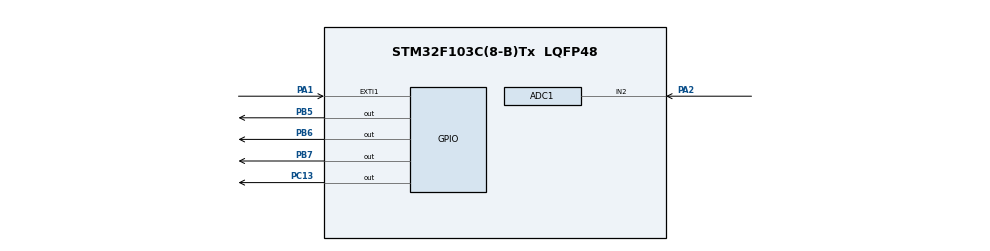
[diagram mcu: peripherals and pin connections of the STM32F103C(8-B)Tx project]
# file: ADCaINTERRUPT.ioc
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ADC1.Channel-1\#ChannelRegularConversion=ADC_CHANNEL_2
ADC1.ContinuousConvMode=ENABLE
ADC1.NbrOfConversionFlag=1
ADC1.Rank-1\#ChannelRegularConversion=1
ADC1.SamplingTime-1\#ChannelRegularConversion=ADC_SAMPLETIME_239CYCLES_5
ADC1.master=1
Mcu.Family=STM32F1
Mcu.Name=STM32F103C(8-B)Tx
Mcu.Package=LQFP48
NVIC.EXTI1_IRQn=true\:1\:0\:true\:false\:true\:true\:true\:true
NVIC.PriorityGroup=NVIC_PRIORITYGROUP_4
PA1.GPIO_ModeDefaultEXTI=GPIO_MODE_IT_FALLING
PA1.GPIO_PuPd=GPIO_PULLUP
PA1.Signal=GPXTI1
PA13.Mode=Serial_Wire
PA13.Signal=SYS_JTMS-SWDIO
PA14.Mode=Serial_Wire
PA14.Signal=SYS_JTCK-SWCLK
PA2.Signal=ADCx_IN2
PB5.PinState=GPIO_PIN_SET
PB5.Signal=GPIO_Output
PB6.PinState=GPIO_PIN_SET
PB6.Signal=GPIO_Output
PB7.PinState=GPIO_PIN_SET
PB7.Signal=GPIO_Output
PC13-TAMPER-RTC.PinState=GPIO_PIN_SET
PC13-TAMPER-RTC.Signal=GPIO_Output
PD0-OSC_IN.Mode=HSE-External-Oscillator
PD0-OSC_IN.Signal=RCC_OSC_IN
PD1-OSC_OUT.Mode=HSE-External-Oscillator
PD1-OSC_OUT.Signal=RCC_OSC_OUT
ProjectManager.HeapSize=0x200
ProjectManager.StackSize=0x400
ProjectManager.TargetToolchain=Makefile
RCC.APB1Freq_Value=8000000
RCC.APB2Freq_Value=8000000
SH.ADCx_IN2.0=ADC1_IN2,IN2
board=custom

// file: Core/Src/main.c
/* USER CODE BEGIN Header */
/**
  ******************************************************************************
  * @file           : main.c
  * @brief          : Main program body
  ******************************************************************************
  * @attention
  *
  * Copyright (c) 2022 STMicroelectronics.
  * All rights reserved.
  *
  * This software is licensed under terms that can be found in the LICENSE file
  * in the root directory of this software component.
  * If no LICENSE file comes with this software, it is provided AS-IS.
  *
  ******************************************************************************
  */
/* USER CODE END Header */
#include "main.h"
#include "adc.h"
#include "gpio.h"

/* USER CODE BEGIN PV */
uint32_t ADC_value;
/* USER CODE END PV */

void SystemClock_Config(void);

int main(void)
{

  /* MCU Configuration--------------------------------------------------------*/

  /* Reset of all peripherals, Initializes the Flash interface and the Systick. */
  HAL_Init();

  /* Configure the system clock */
  SystemClock_Config();

  /* Initialize all configured peripherals */
  MX_GPIO_Init();
  MX_ADC1_Init();
  /* USER CODE BEGIN 2 */
  HAL_ADC_Start(&hadc1);
  /* USER CODE END 2 */

  /* Infinite loop */
  while (1)
  {

    /* USER CODE BEGIN 3 */
    HAL_GPIO_TogglePin(GPIOC,GPIO_PIN_13);

  }
  /* USER CODE END 3 */
}

void SystemClock_Config(void)
{
  RCC_OscInitTypeDef RCC_OscInitStruct = {0};
  RCC_ClkInitTypeDef RCC_ClkInitStruct = {0};
  RCC_PeriphCLKInitTypeDef PeriphClkInit = {0};

  /** Initializes the RCC Oscillators according to the specified parameters
  * in the RCC_OscInitTypeDef structure.
  */
  RCC_OscInitStruct.OscillatorType = RCC_OSCILLATORTYPE_HSI;
  RCC_OscInitStruct.HSIState = RCC_HSI_ON;
  RCC_OscInitStruct.HSICalibrationValue = RCC_HSICALIBRATION_DEFAULT;
  RCC_OscInitStruct.PLL.PLLState = RCC_PLL_NONE;
  if (HAL_RCC_OscConfig(&RCC_OscInitStruct) != HAL_OK)
  {
    Error_Handler();
  }

  /** Initializes the CPU, AHB and APB buses clocks
  */
  RCC_ClkInitStruct.ClockType = RCC_CLOCKTYPE_HCLK|RCC_CLOCKTYPE_SYSCLK
                              |RCC_CLOCKTYPE_PCLK1|RCC_CLOCKTYPE_PCLK2;
  RCC_ClkInitStruct.SYSCLKSource = RCC_SYSCLKSOURCE_HSI;
  RCC_ClkInitStruct.AHBCLKDivider = RCC_SYSCLK_DIV1;
  RCC_ClkInitStruct.APB1CLKDivider = RCC_HCLK_DIV1;
  RCC_ClkInitStruct.APB2CLKDivider = RCC_HCLK_DIV1;

  if (HAL_RCC_ClockConfig(&RCC_ClkInitStruct, FLASH_LATENCY_0) != HAL_OK)
  {
    Error_Handler();
  }
  PeriphClkInit.PeriphClockSelection = RCC_PERIPHCLK_ADC;
  PeriphClkInit.AdcClockSelection = RCC_ADCPCLK2_DIV2;
  if (HAL_RCCEx_PeriphCLKConfig(&PeriphClkInit) != HAL_OK)
  {
    Error_Handler();
  }
}

/* USER CODE BEGIN 4 */
void HAL_GPIO_EXTI_Callback(uint16_t GPIO_Pin)
{
  if (GPIO_Pin == GPIO_PIN_1)
  {
    ADC_value = HAL_ADC_GetValue(&hadc1);
    //3->3.3V
    if (ADC_value > 3722)
    {
      HAL_GPIO_WritePin(GPIOB, GPIO_PIN_7, 1);
      HAL_GPIO_WritePin(GPIOB, GPIO_PIN_5, 1);
      HAL_GPIO_WritePin(GPIOB, GPIO_PIN_6, 1);
    }
    //2.8->3V
    if (ADC_value <= 3722 && ADC_value > 2700)
    {
      HAL_GPIO_WritePin(GPIOB, GPIO_PIN_7, 1);
      HAL_GPIO_WritePin(GPIOB, GPIO_PIN_5, 1);
      HAL_GPIO_WritePin(GPIOB, GPIO_PIN_6, 0);
    }
    //2.5->2.8V
    if (ADC_value <= 2700 && ADC_value > 1241)
    {
      HAL_GPIO_WritePin(GPIOB, GPIO_PIN_5, 0);
      HAL_GPIO_WritePin(GPIOB, GPIO_PIN_6, 0);
      HAL_GPIO_WritePin(GPIOB, GPIO_PIN_7, 1);
    }
    //0->2.5V
    if (ADC_value <= 1241)
    {
      HAL_GPIO_WritePin(GPIOB, GPIO_PIN_7, 0);
      HAL_GPIO_WritePin(GPIOB, GPIO_PIN_5, 0);
      HAL_GPIO_WritePin(GPIOB, GPIO_PIN_6, 0);
    }
  }
}
/* USER CODE END 4 */

void Error_Handler(void)
{
  __disable_irq();
  while (1)
  {
  }
}
